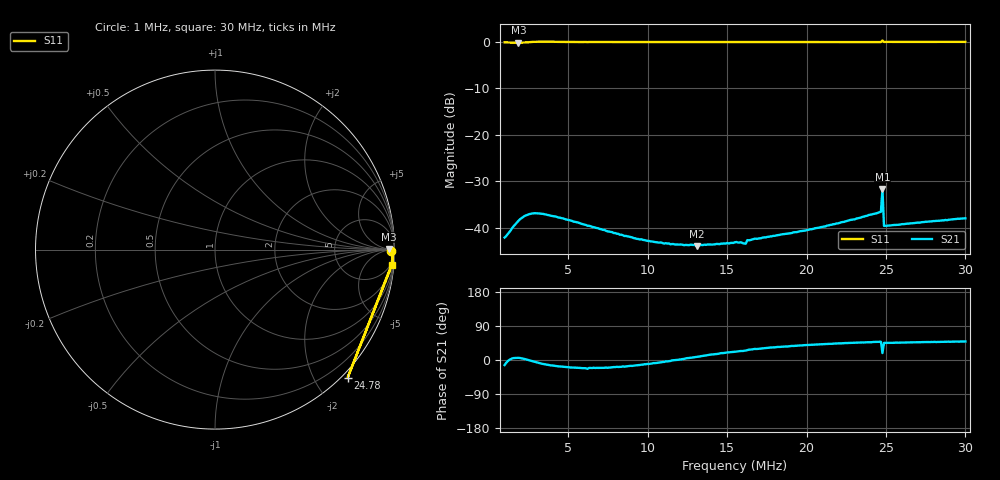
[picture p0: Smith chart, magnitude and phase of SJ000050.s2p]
!File created by NanoVNA-F V2
# Hz S RI R 50
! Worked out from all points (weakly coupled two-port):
!   301 points, 1 MHz to 30 MHz, reference 50 ohm
!   highest |S21| = -31.70 dB at 24.78 MHz (marker M1); lowest = -44.0 dB at 13.08 MHz (marker M2)
!   lowest |S11| = -0.3 dB at 1.87 MHz (marker M3), VSWR 66.88, Z = 3.27e+03 + j479 ohm
!   |S11| at or under -10 dB: nowhere
!   S12 and S22 are empty: the file has one direction only
!   S11 on the Smith chart (normalised r, x): 1 MHz: 88, -38; 24.78 MHz: -0.10, -2.47; 30 MHz: 2, -22
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1000000  0.9809 -0.00816  0.0076 -0.0018  0 0  0 0
1869994  0.9705 0.00425  0.0118 0.00118  0 0  0 0
2256658  0.9778 0.0113  0.0133 0.000611  0 0  0 0
2933320  0.9945 0.00658  0.0142 -0.00133  0 0  0 0
4189978  0.9934 -0.0107  0.0127 -0.00355  0 0  0 0
5833300  0.9888 -0.0169  0.0102 -0.00396  0 0  0 0
8539948  0.9873 -0.0249  0.00773 -0.00247  0 0  0 0
1.06666e7  0.9893 -0.0305  0.00685 -0.000852  0 0  0 0
1.230992e7  0.9894 -0.0359  0.00646 0.00034  0 0  0 0
1.288992e7  0.9884 -0.037  0.00647 0.000798  0 0  0 0
1.308325e7  0.9896 -0.0374  0.00625 0.000863  0 0  0 0
1.317992e7  0.9888 -0.0381  0.00645 0.000955  0 0  0 0
1.54999e7  0.9896 -0.0467  0.00645 0.00261  0 0  0 0
1.617656e7  0.9882 -0.0485  0.00608 0.00282  0 0  0 0
1.627323e7  0.9881 -0.0493  0.00658 0.00323  0 0  0 0
2.03332e7  0.9862 -0.0644  0.00732 0.00622  0 0  0 0
2.303985e7  0.9851 -0.0791  0.00861 0.00875  0 0  0 0
2.468317e7  0.9831 -0.094  0.00986 0.011  0 0  0 0
2.477984e7  0.7388 -0.7142  0.0247 0.00817  0 0  0 0
2.48765e7  0.988 -0.0725  0.00735 0.00738  0 0  0 0
2.51665e7  0.9897 -0.0736  0.00741 0.00747  0 0  0 0
2.99998e7  0.9882 -0.0881  0.00826 0.00948  0 0  0 0
